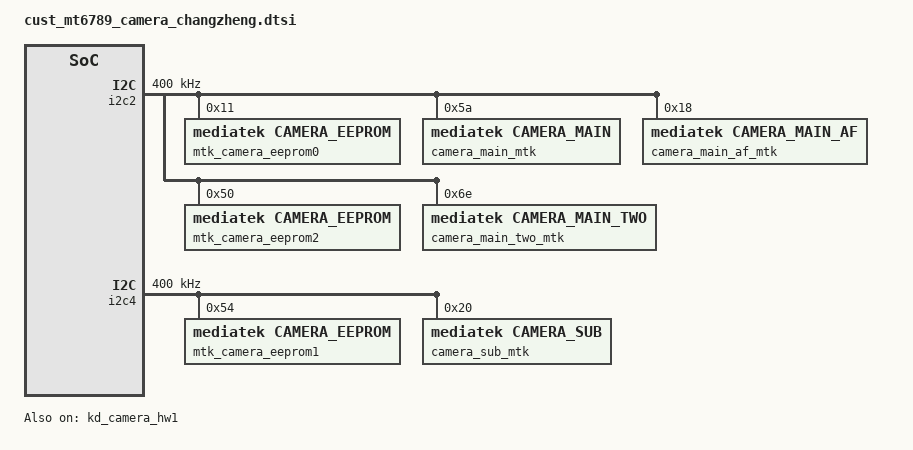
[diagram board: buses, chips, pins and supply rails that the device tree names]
// SPDX-License-Identifier: GPL-2.0
/* Copyright (c) 2020 MediaTek Inc. */
/* CAMERA GPIO standardization */
&pio {
	camera_pins_cam0_rst_0: cam0@0 {
		pins_cmd_dat {
			pinmux = <PINMUX_GPIO18__FUNC_GPIO18>;
			slew-rate = <1>;
			output-low;
		};
	};
	camera_pins_cam0_rst_1: cam0@1 {
		pins_cmd_dat {
			pinmux = <PINMUX_GPIO18__FUNC_GPIO18>;
			slew-rate = <1>;
			output-high;
		};
	};
	camera_pins_cam1_rst_0: cam1@0 {
		pins_cmd_dat {
			pinmux = <PINMUX_GPIO16__FUNC_GPIO16>;
			slew-rate = <1>;
			output-low;
		};
	};
	camera_pins_cam1_rst_1: cam1@1 {
		pins_cmd_dat {
			pinmux = <PINMUX_GPIO16__FUNC_GPIO16>;
			slew-rate = <1>;
			output-high;
		};
	};
	camera_pins_cam2_rst_0: cam2@0 {
		pins_cmd_dat {
			pinmux = <PINMUX_GPIO20__FUNC_GPIO20>;
			slew-rate = <1>;
			output-low;
		};
	};
	camera_pins_cam2_rst_1: cam2@1 {
		pins_cmd_dat {
			pinmux = <PINMUX_GPIO20__FUNC_GPIO20>;
			slew-rate = <1>;
			output-high;
		};
	};
	camera_pins_cam3_rst_0: cam3@0 {
		pins_cmd_dat {
			pinmux = <PINMUX_GPIO22__FUNC_GPIO22>;
			slew-rate = <1>;
			output-low;
		};
	};
	camera_pins_cam3_rst_1: cam3@1 {
		pins_cmd_dat {
			pinmux = <PINMUX_GPIO22__FUNC_GPIO22>;
			slew-rate = <1>;
			output-high;
		};
	};
	camera_pins_cam0_mclk_off: camera_pins_cam0_mclk_off {
		pins_cmd_dat {
			pinmux = <PINMUX_GPIO127__FUNC_GPIO127>;
			drive-strength = <1>;
		};
	};
	camera_pins_cam0_mclk_2ma: camera_pins_cam0_mclk_2ma {
		pins_cmd_dat {
			pinmux = <PINMUX_GPIO127__FUNC_CMMCLK1>;
			drive-strength = <0>;
		};
	};
	camera_pins_cam0_mclk_4ma: camera_pins_cam0_mclk_4ma {
		pins_cmd_dat {
			pinmux = <PINMUX_GPIO127__FUNC_CMMCLK1>;
			drive-strength = <1>;
		};
	};
	camera_pins_cam0_mclk_6ma: camera_pins_cam0_mclk_6ma {
		pins_cmd_dat {
			pinmux = <PINMUX_GPIO127__FUNC_CMMCLK1>;
			drive-strength = <2>;
		};
	};
	camera_pins_cam0_mclk_8ma: camera_pins_cam0_mclk_8ma {
		pins_cmd_dat {
			pinmux = <PINMUX_GPIO127__FUNC_CMMCLK1>;
			drive-strength = <3>;
		};
	};
	camera_pins_cam1_mclk_off: camera_pins_cam1_mclk_off {
		pins_cmd_dat {
			pinmux = <PINMUX_GPIO126__FUNC_GPIO126>;
			drive-strength = <1>;
		};
	};
	camera_pins_cam1_mclk_2ma: camera_pins_cam1_mclk_2ma {
		pins_cmd_dat {
			pinmux = <PINMUX_GPIO126__FUNC_CMMCLK0>;
			drive-strength = <0>;
		};
	};
	camera_pins_cam1_mclk_4ma: camera_pins_cam1_mclk_4ma {
		pins_cmd_dat {
			pinmux = <PINMUX_GPIO126__FUNC_CMMCLK0>;
			drive-strength = <1>;
		};
	};
	camera_pins_cam1_mclk_6ma: camera_pins_cam1_mclk_6ma {
		pins_cmd_dat {
			pinmux = <PINMUX_GPIO126__FUNC_CMMCLK0>;
			drive-strength = <2>;
		};
	};
	camera_pins_cam1_mclk_8ma: camera_pins_cam1_mclk_8ma {
		pins_cmd_dat {
			pinmux = <PINMUX_GPIO126__FUNC_CMMCLK0>;
			drive-strength = <3>;
		};
	};
	camera_pins_cam2_mclk_off: camera_pins_cam2_mclk_off {
		pins_cmd_dat {
			pinmux = <PINMUX_GPIO128__FUNC_GPIO128>;
			drive-strength = <1>;
		};
	};
	camera_pins_cam2_mclk_2ma: camera_pins_cam2_mclk_2ma {
		pins_cmd_dat {
			pinmux = <PINMUX_GPIO128__FUNC_CMMCLK2>;
			drive-strength = <0>;
		};
	};
	camera_pins_cam2_mclk_4ma: camera_pins_cam2_mclk_4ma {
		pins_cmd_dat {
			pinmux = <PINMUX_GPIO128__FUNC_CMMCLK2>;
			drive-strength = <1>;
		};
	};
	camera_pins_cam2_mclk_6ma: camera_pins_cam2_mclk_6ma {
		pins_cmd_dat {
			pinmux = <PINMUX_GPIO128__FUNC_CMMCLK2>;
			drive-strength = <2>;
		};
	};
	camera_pins_cam2_mclk_8ma: camera_pins_cam2_mclk_8ma {
		pins_cmd_dat {
			pinmux = <PINMUX_GPIO128__FUNC_CMMCLK2>;
			drive-strength = <3>;
		};
	};
	camera_pins_cam3_mclk_off: camera_pins_cam3_mclk_off {
		pins_cmd_dat {
			pinmux = <PINMUX_GPIO129__FUNC_GPIO129>;
			drive-strength = <1>;
		};
	};
	camera_pins_cam3_mclk_2ma: camera_pins_cam3_mclk_2ma {
		pins_cmd_dat {
			pinmux = <PINMUX_GPIO129__FUNC_CMMCLK3>;
			drive-strength = <0>;
		};
	};
	camera_pins_cam3_mclk_4ma: camera_pins_cam3_mclk_4ma {
		pins_cmd_dat {
			pinmux = <PINMUX_GPIO129__FUNC_CMMCLK3>;
			drive-strength = <1>;
		};
	};
	camera_pins_cam3_mclk_6ma: camera_pins_cam3_mclk_6ma {
		pins_cmd_dat {
			pinmux = <PINMUX_GPIO129__FUNC_CMMCLK3>;
			drive-strength = <2>;
		};
	};
	camera_pins_cam3_mclk_8ma: camera_pins_cam3_mclk_8ma {
		pins_cmd_dat {
			pinmux = <PINMUX_GPIO129__FUNC_CMMCLK3>;
			drive-strength = <3>;
		};
	};
	camera_pins_default: camdefault {
	};
};
&kd_camera_hw1 {
	pinctrl-names = "default",
			"cam0_rst0", "cam0_rst1",
			"cam1_rst0", "cam1_rst1",
			"cam2_rst0", "cam2_rst1",
			"cam0_mclk_off",
			"cam0_mclk_2mA", "cam0_mclk_4mA",
			"cam0_mclk_6mA", "cam0_mclk_8mA",
			"cam1_mclk_off",
			"cam1_mclk_2mA", "cam1_mclk_4mA",
			"cam1_mclk_6mA", "cam1_mclk_8mA",
			"cam2_mclk_off",
			"cam2_mclk_2mA", "cam2_mclk_4mA",
			"cam2_mclk_6mA", "cam2_mclk_8mA",
			"cam3_rst0", "cam3_rst1",
			"cam3_mclk_off",
			"cam3_mclk_2mA", "cam3_mclk_4mA",
			"cam3_mclk_6mA", "cam3_mclk_8mA";

	pinctrl-0 = <&camera_pins_default>;
	pinctrl-1 = <&camera_pins_cam0_rst_0>;
	pinctrl-2 = <&camera_pins_cam0_rst_1>;
	pinctrl-3 = <&camera_pins_cam1_rst_0>;
	pinctrl-4 = <&camera_pins_cam1_rst_1>;
	pinctrl-5 = <&camera_pins_cam2_rst_0>;
	pinctrl-6 = <&camera_pins_cam2_rst_1>;
	pinctrl-7 = <&camera_pins_cam0_mclk_off>;
	pinctrl-8 = <&camera_pins_cam0_mclk_2ma>;
	pinctrl-9 = <&camera_pins_cam0_mclk_4ma>;
	pinctrl-10 = <&camera_pins_cam0_mclk_6ma>;
	pinctrl-11 = <&camera_pins_cam0_mclk_8ma>;
	pinctrl-12 = <&camera_pins_cam1_mclk_off>;
	pinctrl-13 = <&camera_pins_cam1_mclk_2ma>;
	pinctrl-14 = <&camera_pins_cam1_mclk_4ma>;
	pinctrl-15 = <&camera_pins_cam1_mclk_6ma>;
	pinctrl-16 = <&camera_pins_cam1_mclk_8ma>;
	pinctrl-17 = <&camera_pins_cam2_mclk_off>;
	pinctrl-18 = <&camera_pins_cam2_mclk_2ma>;
	pinctrl-19 = <&camera_pins_cam2_mclk_4ma>;
	pinctrl-20 = <&camera_pins_cam2_mclk_6ma>;
	pinctrl-21 = <&camera_pins_cam2_mclk_8ma>;
	pinctrl-22 = <&camera_pins_cam3_rst_0>;
	pinctrl-23 = <&camera_pins_cam3_rst_1>;
	pinctrl-24 = <&camera_pins_cam3_mclk_off>;
	pinctrl-25 = <&camera_pins_cam3_mclk_2ma>;
	pinctrl-26 = <&camera_pins_cam3_mclk_4ma>;
	pinctrl-27 = <&camera_pins_cam3_mclk_6ma>;
	pinctrl-28 = <&camera_pins_cam3_mclk_8ma>;


	cam0_pin_mclk = "mclk";
	cam0_pin_rst = "gpio";
	cam0_pin_vcama = "wl2868c";
	cam0_pin_vcamio = "wl2868c";
	cam0_pin_vcamd = "wl2868c";
	cam0_pin_vcamaf = "wl2868c";
	cam1_pin_mclk = "mclk";
	cam1_pin_rst = "gpio";
	cam1_pin_vcama = "wl2868c";
	cam1_pin_vcamio = "wl2868c";
	cam1_pin_vcamd = "wl2868c";
	cam1_pin_vcama1 = "wl2868c";
	cam2_pin_mclk = "mclk";
	cam2_pin_rst = "gpio";
	cam2_pin_vcama = "wl2868c";
	cam2_pin_vcamio = "wl2868c";
	cam3_pin_mclk = "mclk";
	cam3_pin_rst = "gpio";
	cam3_pin_vcama = "wl2868c";
	cam3_pin_vcamio = "wl2868c";

	cam0_enable_sensor = "ova0b4_mipi_raw_changzheng s5khm6s_mipi_raw_changzheng";
	cam1_enable_sensor = "ov32c_mipi_raw_changzheng";
	cam2_enable_sensor = "gc02m1_mipi_raw_changzheng";
	cam3_enable_sensor = "ov02b1b_mipi_mono_changzheng sc201cs_mipi_raw_changzheng";
	status = "okay";
};
/* CAMERA GPIO end */

/* CAMERA EEPROM */
&i2c2 {
	status = "okay";
	clock-frequency = <400000>;
	#address-cells = <1>;
	#size-cells = <0>;

	mtk_camera_eeprom0:camera_eeprom0@11 {
		compatible = "mediatek,camera_eeprom";
		reg = <0x11>;
		status = "okay";
	};
	camera_main_mtk:camera_main@5a {
		compatible = "mediatek,camera_main";
		#thermal-sensor-cells = <0>;
		reg = <0x5a>;
		status = "okay";
	};
	camera_main_af_mtk:camera_main_af@18 {
		compatible = "mediatek,camera_main_af";
		reg = <0x18>;
		status = "okay";
	};
	mtk_camera_eeprom2:camera_eeprom2@50 {
		compatible = "mediatek,camera_eeprom";
		reg = <0x50>;
		status = "okay";
	};
	camera_main_two_mtk:camera_main_two@6e {
		compatible = "mediatek,camera_main_two";
		#thermal-sensor-cells = <0>;
		reg = <0x6e>;
		status = "okay";
	};
};
&i2c4 {
	status = "okay";
	clock-frequency = <400000>;
	#address-cells = <1>;
	#size-cells = <0>;

	mtk_camera_eeprom1:camera_eeprom1@54 {
		compatible = "mediatek,camera_eeprom";
		reg = <0x54>;
		status = "okay";
	};
	camera_sub_mtk:camera_sub@20 {
		compatible = "mediatek,camera_sub";
		#thermal-sensor-cells = <0>;
		reg = <0x20>;
		status = "okay";
	};
};

/* CAMERA EEPROM end */

/* CAMERA TZ config */
&thermal_zones {
	camera_main: camera_main {
		polling-delay = <1000>; /* milliseconds */
		polling-delay-passive = <0>; /* milliseconds */
		thermal-sensors = <&camera_main_mtk>;
	};
	camera_sub: camera_sub {
		polling-delay = <1000>; /* milliseconds */
		polling-delay-passive = <0>; /* milliseconds */
		thermal-sensors = <&camera_sub_mtk>;
	};
	camera_main_two: camera_main_two {
		polling-delay = <1000>; /* milliseconds */
		polling-delay-passive = <0>; /* milliseconds */
		thermal-sensors = <&camera_main_two_mtk>;
	};
};
/* CAMERA TZ config end */
